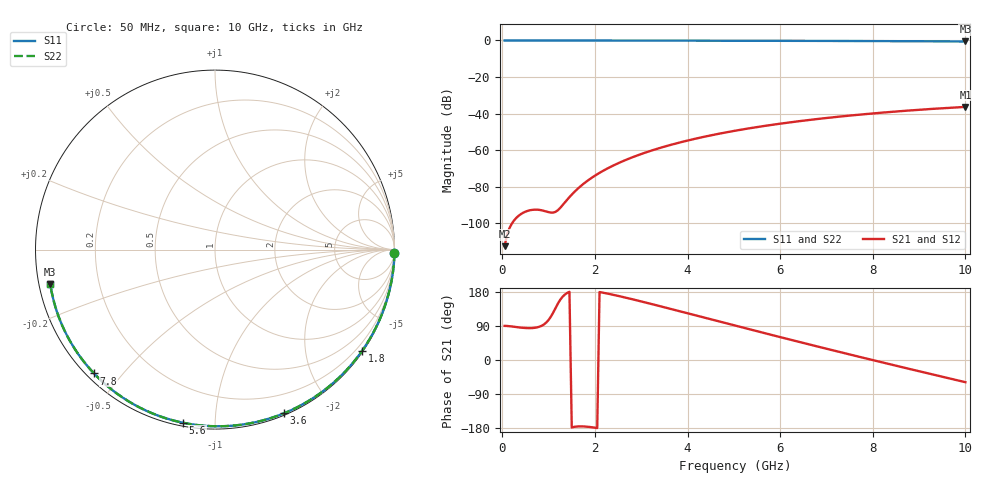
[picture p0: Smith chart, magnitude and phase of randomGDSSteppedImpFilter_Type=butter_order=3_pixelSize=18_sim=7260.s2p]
! freq	dB(S11)	phase(S11)	dB(S12)	phase(S12)
!  dB(S21)	phase(S21)	dB(S22)	phase(S22)
!S-par simulation data
#  GHz  S  DB  R 50
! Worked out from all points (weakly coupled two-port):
!   200 points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, 50 MHz to 10 GHz, reference 50 ohm
!   highest |S21| = -36.33 dB at 10 GHz (marker M1); lowest = -112.4 dB at 50 MHz (marker M2)
!   lowest |S11| = -0.6 dB at 10 GHz (marker M3), VSWR 31.20, Z = 1.62 - j5.23 ohm
!   |S11| at or under -10 dB: nowhere
!   |S22| runs from -0.6 to 0.0 dB; largest |S21 - S12| = 0
!   S11 on the Smith chart (normalised r, x): 50 MHz: open; 1.8 GHz: 0.03, -3.21; 3.6 GHz: 0.02, -1.51; 5.6 GHz: 0.02, -0.83; 7.8 GHz: 0.02, -0.42; 10 GHz: 0.03, -0.10
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0.05  -0.00 -1.0  -112.43 90.0  -112.43 90.0  -0.00 -1.0
0.45  -0.01 -8.8  -94.17 84.8  -94.17 84.8  -0.01 -8.8
0.85  -0.02 -16.5  -92.82 90.3  -92.82 90.3  -0.02 -16.5
1.65  -0.04 -31.8  -80.55 -175.2  -80.55 -175.2  -0.04 -31.8
1.7  -0.04 -32.7  -79.46 -175.1  -79.46 -175.1  -0.04 -32.7
1.75  -0.04 -33.6  -78.42 -175.3  -78.42 -175.3  -0.04 -33.6
1.8  -0.04 -34.6  -77.43 -175.7  -77.43 -175.7  -0.04 -34.6
2.1  -0.05 -40.2  -72.36 179.3  -72.36 179.3  -0.05 -40.2
2.3  -0.06 -43.9  -69.58 174.6  -69.58 174.6  -0.06 -43.9
2.5  -0.06 -47.5  -67.13 169.2  -67.13 169.2  -0.06 -47.5
2.9  -0.07 -54.8  -62.98 157.6  -62.98 157.6  -0.07 -54.8
3.4  -0.08 -63.7  -58.78 142.2  -58.78 142.2  -0.08 -63.7
3.6  -0.09 -67.2  -57.32 136.0  -57.32 136.0  -0.09 -67.2
4.3  -0.11 -79.1  -52.96 113.9  -52.96 113.9  -0.11 -79.1
5.05  -0.14 -91.6  -49.23 90.1  -49.23 90.1  -0.14 -91.6
5.6  -0.17 -100.4  -46.95 72.9  -46.95 72.9  -0.17 -100.4
6.15  -0.20 -109.1  -44.97 55.8  -44.97 55.8  -0.20 -109.1
6.7  -0.23 -117.6  -43.24 38.9  -43.24 38.9  -0.23 -117.6
7.8  -0.31 -134.3  -40.34 5.7  -40.34 5.7  -0.31 -134.3
8.35  -0.36 -142.7  -39.14 -10.6  -39.14 -10.6  -0.36 -142.7
9.2  -0.46 -155.6  -37.55 -35.5  -37.55 -35.5  -0.46 -155.6
10  -0.56 -168.1  -36.33 -58.6  -36.33 -58.6  -0.56 -168.1
